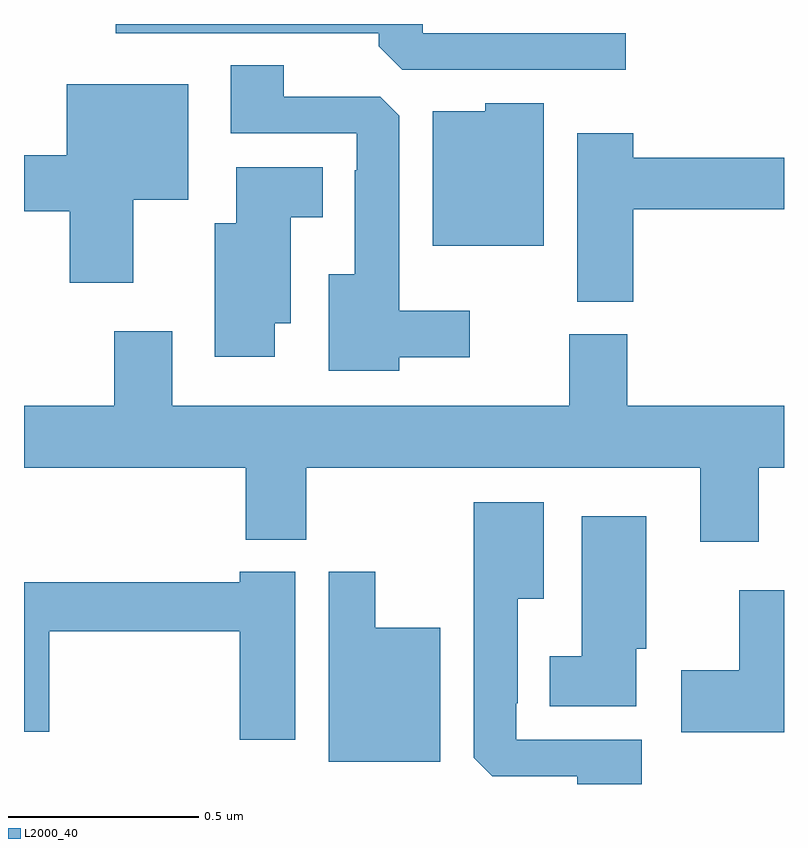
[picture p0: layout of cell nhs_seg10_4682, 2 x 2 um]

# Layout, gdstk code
import gdstk
lib = gdstk.Library(unit=1e-6, precision=1e-09)
def P(c, l, *ps):  # polygons
    for p in ps: c.add(gdstk.Polygon(p, *l))
L2000_40 = (2000, 40)

nhs_seg10_4682 = lib.new_cell('nhs_seg10_4682')
P(nhs_seg10_4682, L2000_40, [(170.584,1285.476),(170.049,1285.476),(170.049,1285.5),(169.242,1285.5),(169.242,1285.476),(169.934,1285.476),(169.934,1285.442),(169.995,1285.38),(170.584,1285.38)],
  [(169.987,1284.623),(170.173,1284.623),(170.173,1284.745),(169.987,1284.745),(169.987,1285.259),(169.938,1285.308),(169.684,1285.308),(169.684,1285.391),(169.544,1285.391),(169.544,1285.212),(169.875,1285.212),(169.875,1285.115),(169.871,1285.115),(169.871,1284.841),(169.802,1284.841),(169.802,1284.587),(169.987,1284.587)],
  [(169.288,1285.037),(169.432,1285.037),(169.432,1285.342),(169.112,1285.342),(169.112,1285.154),(169,1285.154),(169,1285.007),(169.121,1285.007),(169.121,1284.819),(169.288,1284.819)],
  [(170.368,1285.291),(170.214,1285.291),(170.214,1285.27),(170.075,1285.27),(170.075,1284.917),(170.368,1284.917)],
  [(170.603,1285.012),(171,1285.012),(171,1285.148),(170.603,1285.148),(170.603,1285.213),(170.456,1285.213),(170.456,1284.769),(170.603,1284.769)],
  [(169.66,1284.713),(169.702,1284.713),(169.702,1284.992),(169.786,1284.992),(169.786,1285.123),(169.559,1285.123),(169.559,1284.976),(169.502,1284.976),(169.502,1284.624),(169.66,1284.624)],
  [(170.933,1284.332),(171,1284.332),(171,1284.496),(170.588,1284.496),(170.588,1284.684),(170.435,1284.684),(170.435,1284.496),(169.39,1284.496),(169.39,1284.691),(169.238,1284.691),(169.238,1284.496),(169,1284.496),(169,1284.332),(169.583,1284.332),(169.583,1284.143),(169.743,1284.143),(169.743,1284.332),(170.78,1284.332),(170.78,1284.138),(170.933,1284.138)],
  [(170.626,1283.616),(170.295,1283.616),(170.295,1283.713),(170.299,1283.713),(170.299,1283.987),(170.368,1283.987),(170.368,1284.241),(170.183,1284.241),(170.183,1283.569),(170.232,1283.52),(170.456,1283.52),(170.456,1283.5),(170.626,1283.5)],
  [(170.611,1283.856),(170.638,1283.856),(170.638,1284.205),(170.468,1284.205),(170.468,1283.836),(170.384,1283.836),(170.384,1283.705),(170.611,1283.705)],
  [(169.714,1284.058),(169.568,1284.058),(169.568,1284.031),(169,1284.031),(169,1283.637),(169.067,1283.637),(169.067,1283.902),(169.568,1283.902),(169.568,1283.616),(169.714,1283.616)],
  [(170.095,1283.911),(169.924,1283.911),(169.924,1284.058),(169.802,1284.058),(169.802,1283.558),(170.095,1283.558)],
  [(171,1284.01),(170.882,1284.01),(170.882,1283.799),(170.73,1283.799),(170.73,1283.636),(171,1283.636)])

lib.write_gds('nhs_seg10_4682.gds')
